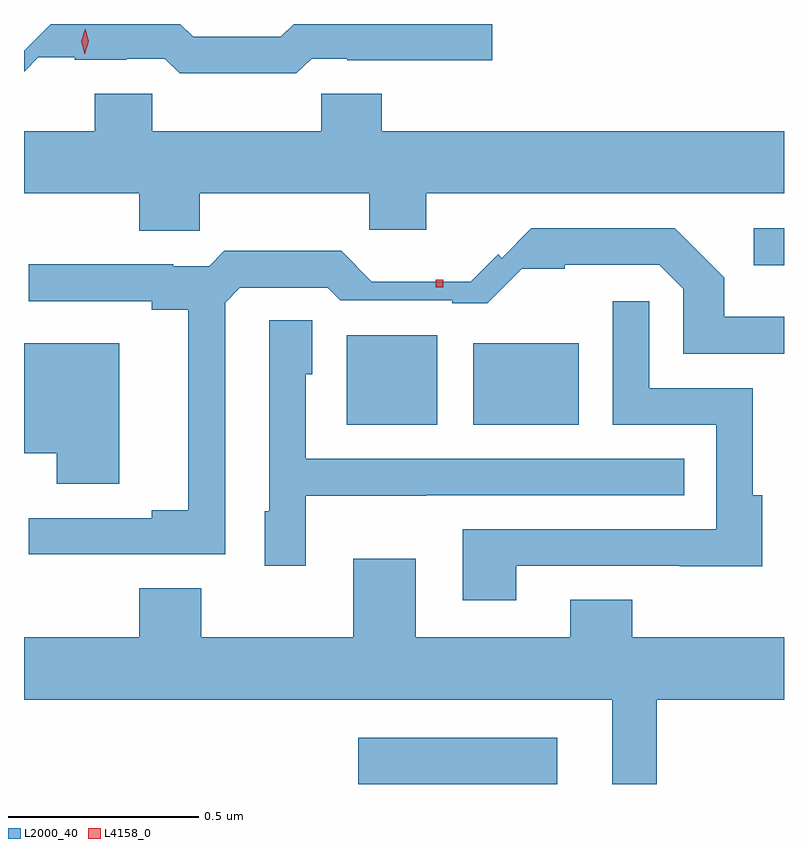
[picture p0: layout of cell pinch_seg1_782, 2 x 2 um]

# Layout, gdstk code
import gdstk
lib = gdstk.Library(unit=1e-6, precision=1e-09)
def R(c, l, rs):  # rectangles x0, y0, x1, y1
    for r in rs: c.add(gdstk.rectangle(r[:2], r[2:], *l))
def P(c, l, *ps):  # polygons
    for p in ps: c.add(gdstk.Polygon(p, *l))
L2000_40 = (2000, 40)
L4158_0 = (4158, 0)

pinch_seg1_782 = lib.new_cell('pinch_seg1_782')
R(pinch_seg1_782, L2000_40, [(832.902,539.522,833.425,539.644), (832.871,540.467,833.11,540.703), (833.204,540.467,833.482,540.682), (833.943,540.887,834.022,540.984)])
P(pinch_seg1_782, L2000_40, [(832.779,541.431),(832.873,541.431),(832.873,541.427),(833.254,541.427),(833.254,541.522),(832.732,541.522),(832.698,541.488),(832.467,541.488),(832.433,541.522),(832.092,541.522),(832.022,541.452),(832.022,541.397),(832.059,541.434),(832.156,541.434),(832.156,541.428),(832.292,541.428),(832.292,541.431),(832.392,541.431),(832.432,541.392),(832.739,541.392)],
  [(832.485,541.076),(832.93,541.076),(832.93,540.981),(833.08,540.981),(833.08,541.076),(834.022,541.076),(834.022,541.24),(832.964,541.24),(832.964,541.338),(832.804,541.338),(832.804,541.24),(832.359,541.24),(832.359,541.338),(832.208,541.338),(832.208,541.24),(832.022,541.24),(832.022,541.076),(832.325,541.076),(832.325,540.978),(832.485,540.978)],
  [(832.551,540.789),(832.59,540.828),(832.821,540.828),(832.854,540.795),(833.149,540.795),(833.149,540.787),(833.241,540.787),(833.332,540.878),(833.445,540.878),(833.445,540.888),(833.694,540.888),(833.757,540.825),(833.757,540.654),(834.022,540.654),(834.022,540.751),(833.865,540.751),(833.865,540.854),(833.734,540.984),(833.357,540.984),(833.279,540.906),(833.27,540.916),(833.198,540.844),(832.937,540.844),(832.857,540.925),(832.549,540.925),(832.509,540.885),(832.415,540.885),(832.415,540.89),(832.035,540.89),(832.035,540.792),(832.358,540.792),(832.358,540.77),(832.454,540.77),(832.454,540.242),(832.358,540.242),(832.358,540.222),(832.035,540.222),(832.035,540.126),(832.551,540.126)],
  [(833.317,540.096),(833.747,540.096),(833.747,540.095),(833.965,540.095),(833.965,540.282),(833.94,540.282),(833.94,540.564),(833.667,540.564),(833.667,540.793),(833.571,540.793),(833.571,540.468),(833.844,540.468),(833.844,540.192),(833.177,540.192),(833.177,540.006),(833.317,540.006)],
  [(832.764,540.281),(833.081,540.281),(833.081,540.282),(833.759,540.282),(833.759,540.378),(832.764,540.378),(832.764,540.6),(832.78,540.6),(832.78,540.743),(832.668,540.743),(832.668,540.24),(832.655,540.24),(832.655,540.096),(832.764,540.096)],
  [(832.273,540.682),(832.022,540.682),(832.022,540.392),(832.108,540.392),(832.108,540.312),(832.273,540.312)],
  [(833.687,539.744),(834.022,539.744),(834.022,539.908),(833.623,539.908),(833.623,540.007),(833.459,540.007),(833.459,539.908),(833.053,539.908),(833.053,540.115),(832.889,540.115),(832.889,539.908),(832.489,539.908),(832.489,540.037),(832.325,540.037),(832.325,539.908),(832.022,539.908),(832.022,539.744),(833.57,539.744),(833.57,539.522),(833.687,539.522)])
R(pinch_seg1_782, L4158_0, [(833.105,540.829,833.125,540.849)])
P(pinch_seg1_782, L4158_0, [(832.182,541.443),(832.182,541.443),(832.173,541.477),(832.183,541.51),(832.183,541.51),(832.183,541.51),(832.192,541.476),(832.182,541.443)])

lib.write_gds('pinch_seg1_782.gds')
